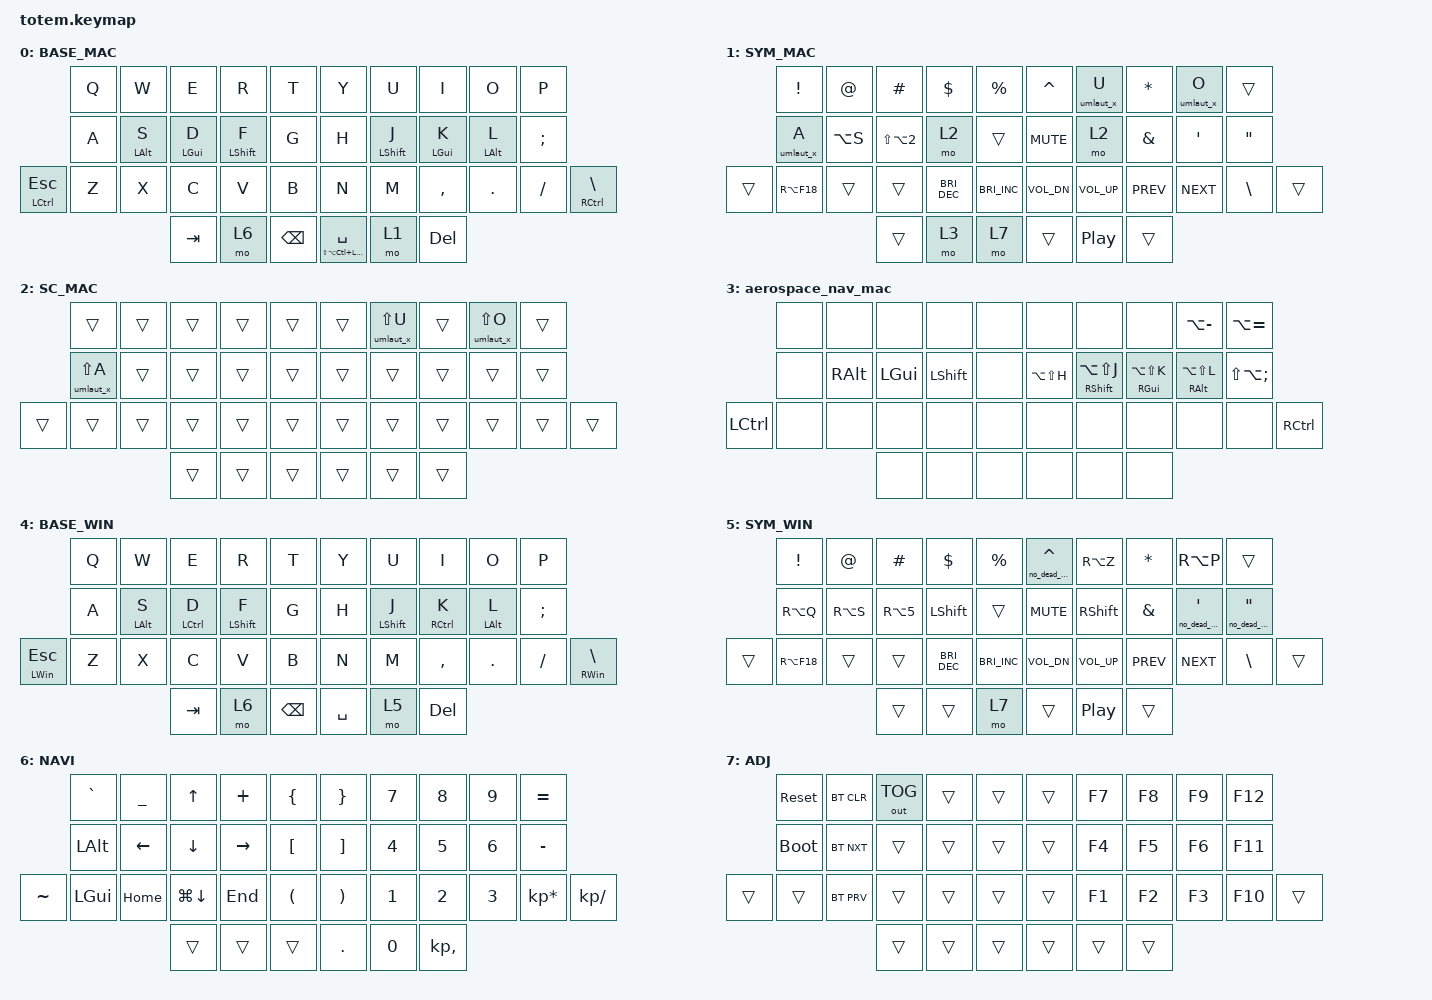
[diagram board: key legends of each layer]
//
//                                                        ▀▀▀▀▀     ▀▀▀▀▀          ▀▀█▀▀
//                                                        ▄▀▀▀▄  ▄  ▄▀▀▀▄  ▄  ▄▀▀▀▄  █  ▄▀▀▀▄
//                                                        █   █  █  █   █  █  █   █  █  █   █
//                                                         ▀▀▀   █   ▀▀▀   █   ▀▀▀   ▀   ▀▀▀
//                                                               █      ▄▄▄█▄▄▄    █   █  
//                                                               ▀      █  █  █     █▄█
//                                                             ▀▀▀▀▀    █  █  █      ▀
//                                                                      ▀  ▀  ▀
//
// ▄▄▄▄▄▄▄▄▄▄▄▄▄▄▄▄▄▄▄▄▄▄▄▄▄▄▄▄▄▄▄▄▄▄▄▄▄▄▄▄▄▄▄▄▄▄▄▄▄▄▄▄▄▄▄▄▄▄▄▄▄▄▄▄▄▄▄▄▄▄▄▄▄▄▄▄▄▄▄▄▄▄▄▄▄▄▄▄▄▄▄▄▄▄▄▄▄▄▄▄▄▄▄▄▄▄▄▄▄▄▄▄▄▄▄▄▄▄▄▄▄▄▄▄▄▄▄▄▄▄▄▄▄▄▄▄▄▄▄▄▄▄▄▄▄▄▄▄▄

#include <behaviors.dtsi>
#include <dt-bindings/zmk/bt.h>
#include <dt-bindings/zmk/keys.h>
#include <dt-bindings/zmk/outputs.h>

#define BASE 0
#define NAV  1
#define SYM  2
#define ADJ  3
#define TVP1 4
#define TVP2 5

&mt {
    quick-tap-ms = <150>;
    global-quick-tap;
    flavor = "tap-preferred";
    tapping-term-ms = <170>;
};

/ {
    combos {
        compatible = "zmk,combos";

        combo_esc {
            timeout-ms = <60>;
            key-positions = <0 1>;
            bindings = <&kp ESCAPE>;
            require-prior-idle-ms = <120>;
        };

        enter_combo {
            bindings = <&kp ENTER>;
            key-positions = <13 12 11>;
            timeout-ms = <70>;
            require-prior-idle-ms = <100>;
        };

        enter_right_combo {
            bindings = <&kp ENTER>;
            key-positions = <16 18 17>;
            timeout-ms = <70>;
            require-prior-idle-ms = <100>;
        };

        toggle_win_layer {
            bindings = <&tog 4>;
            key-positions = <0 1 2>;
            layers = <0>;
            timeout-ms = <70>;
            require-prior-idle-ms = <100>;
        };

        copy {
            bindings = <&kp LG(C)>;
            key-positions = <22 23>;
            timeout-ms = <70>;
            require-prior-idle-ms = <100>;
            layers = <0>;
        };

        paste {
            bindings = <&kp LG(V)>;
            key-positions = <23 24>;
            timeout-ms = <70>;
            require-prior-idle-ms = <100>;
            layers = <0>;
        };

        copy_win {
            bindings = <&kp LC(C)>;
            key-positions = <22 23>;
            timeout-ms = <70>;
            require-prior-idle-ms = <100>;
            layers = <4>;
        };

        paste_win {
            bindings = <&kp LC(V)>;
            key-positions = <23 24>;
            timeout-ms = <70>;
            require-prior-idle-ms = <100>;
            layers = <4>;
        };

        toggle_base_layer {
            bindings = <&tog 4>;
            key-positions = <10 11 12>;
            timeout-ms = <70>;
            require-prior-idle-ms = <100>;
            layers = <4>;
        };

        cb_hist_win {
            bindings = <&kp LG(V)>;
            key-positions = <22 23 24>;
            layers = <4>;
        };

        select_all_win {
            bindings = <&kp LC(A)>;
            key-positions = <10 22>;
            layers = <4>;
        };

        select_all_mac {
            bindings = <&kp LG(A)>;
            key-positions = <10 22>;
            layers = <0>;
        };
    };

    behaviors {
        mt_left: mt_left {
            compatible = "zmk,behavior-hold-tap";
            label = "MT_LEFT";
            bindings = <&kp>, <&kp>;

            #binding-cells = <2>;
            tapping-term-ms = <400>;
            quick-tap-ms = <400>;
            flavor = "balanced";
            require-prior-idle-ms = <400>;
        };

        mt_right: mt_right {
            compatible = "zmk,behavior-hold-tap";
            label = "MT_RIGHT";
            bindings = <&kp>, <&kp>;

            #binding-cells = <2>;
            tapping-term-ms = <400>;
            quick-tap-ms = <400>;
            flavor = "balanced";
            require-prior-idle-ms = <400>;
        };

        mt_thumb: mt_thumb {
            compatible = "zmk,behavior-hold-tap";
            label = "MT_THUMB";
            bindings = <&kp>, <&kp>;

            #binding-cells = <2>;
            quick-tap-ms = <200>;
            flavor = "balanced";
            tapping-term-ms = <200>;
            require-prior-idle-ms = <125>;
        };

        mt_shift_left: mt_shift_left {
            compatible = "zmk,behavior-hold-tap";
            label = "MT_SHIFT_LEFT";
            bindings = <&kp>, <&kp>;

            #binding-cells = <2>;
            tapping-term-ms = <200>;
            quick-tap-ms = <200>;
            flavor = "tap-preferred";
            require-prior-idle-ms = <125>;
        };

        mt_shift_right: mt_shift_right {
            compatible = "zmk,behavior-hold-tap";
            label = "MT_SHIFT_RIGHT";
            bindings = <&kp>, <&kp>;

            #binding-cells = <2>;
            tapping-term-ms = <200>;
            flavor = "tap-preferred";
            require-prior-idle-ms = <125>;
            quick-tap-ms = <200>;
        };

        hold_sticky: hold_sticky {
            compatible = "zmk,behavior-hold-tap";
            label = "HOLD_STICKY";
            bindings = <&kp>, <&sk>;

            #binding-cells = <2>;
            flavor = "hold-preferred";
            tapping-term-ms = <150>;
            quick-tap-ms = <220>;
        };

        mt_all: mt_all {
            compatible = "zmk,behavior-hold-tap";
            label = "MT_ALL";
            bindings = <&kp>, <&kp>;

            #binding-cells = <2>;
            tapping-term-ms = <400>;
            quick-tap-ms = <400>;
            flavor = "balanced";
            require-prior-idle-ms = <400>;
        };

        new_behavior: new_behavior {
            compatible = "zmk,behavior-hold-tap";
            label = "NEW_BEHAVIOR";
            bindings = <&hyper_key>, <&kp>;

            #binding-cells = <2>;
            tapping-term-ms = <400>;
            quick-tap-ms = <400>;
            flavor = "balanced";
            require-prior-idle-ms = <400>;
        };
    };

    macros {
        umlaut_x: umlaut_x {
            compatible = "zmk,behavior-macro-one-param";
            #binding-cells = <1>;
            bindings = <&kp LA(U) &macro_param_1to1 &kp MACRO_PLACEHOLDER>;
        };

        no_dead_key: no_dead_key {
            compatible = "zmk,behavior-macro-one-param";
            #binding-cells = <1>;
            bindings = <&macro_param_1to1 &kp MACRO_PLACEHOLDER &kp SPACE>;
            label = "NO_DEAD_KEY";
        };

        hyper_key: super_key {
            compatible = "zmk,behavior-macro-one-param";
            #binding-cells = <1>;
            bindings =
                <&macro_press>,
                <&kp LEFT_SHIFT &kp LEFT_CONTROL &kp LEFT_ALT &kp LEFT_GUI &macro_param_1to1 &kp MACRO_PLACEHOLDER>,
                <&macro_release>;

            label = "SUPER_KEY";
        };
    };

    keymap {
        compatible = "zmk,keymap";

        // ▄▄▄▄▄▄▄▄▄▄▄▄▄▄▄▄▄▄▄▄▄▄▄▄▄▄▄▄▄▄▄▄▄▄▄▄▄▄▄▄▄▄▄▄▄▄▄▄▄▄▄▄▄▄▄▄▄▄▄▄▄▄▄▄▄▄▄▄▄▄▄▄▄▄▄▄▄▄▄▄▄▄▄▄▄▄▄▄▄▄▄▄▄▄▄▄▄▄▄▄▄▄▄▄▄▄▄▄▄▄▄▄▄▄▄▄▄▄▄▄▄▄▄▄▄▄▄▄▄▄▄▄▄▄▄▄▄▄▄▄▄▄▄▄▄▄▄▄▄

        base_layer_mac {
            // ┏━━━━━━━━━━━━━━━━━━━━━━━━━━━━━━━━━━━━━━━┓

            label = "BASE_MAC";

            // ┗━━━━━━━━━━━━━━━━━━━━━━━━━━━━━━━━━━━━━━━┛
            //             ┏━━━━━━━━━━━┳━━━━━━━━━━━┳━━━━━━━━━━━┳━━━━━━━━━━━┳━━━━━━━━━━━┓   ┏━━━━━━━━━━━┳━━━━━━━━━━━┳━━━━━━━━━━━┳━━━━━━━━━━━┳━━━━━━━━━━━┓
            //             ┃     Q     ┃     W     ┃     F     ┃     P     ┃     G     ┃   ┃     J     ┃     L     ┃     U     ┃     Y     ┃     ;     ┃
            //             ┣━━━━━━━━━━━╋━━━━━━━━━━━╋━━━━━━━━━━━╋━━━━━━━━━━━╋━━━━━━━━━━━┫   ┣━━━━━━━━━━━╋━━━━━━━━━━━╋━━━━━━━━━━━╋━━━━━━━━━━━╋━━━━━━━━━━━┫
            //             ┃     A     ┃     R     ┃     S     ┃     T     ┃     D     ┃   ┃     H     ┃     N     ┃     E     ┃     I     ┃     O     ┃
            // ┏━━━━━━━━━━━╋━━━━━━━━━━━╋━━━━━━━━━━━╋━━━━━━━━━━━╋━━━━━━━━━━━╋━━━━━━━━━━━┫   ┣━━━━━━━━━━━╋━━━━━━━━━━━╋━━━━━━━━━━━╋━━━━━━━━━━━╋━━━━━━━━━━━╋━━━━━━━━━━━┓
            // ┃     Q     ┃     Z     ┃     X     ┃     C     ┃     V     ┃     B     ┃   ┃     K     ┃     M     ┃     ,     ┃     .     ┃     /     ┃     \     ┃
            // ┗━━━━━━━━━━━┻━━━━━━━━━━━┻━━━━━━━━━━━╋━━━━━━━━━━━╋━━━━━━━━━━━╋━━━━━━━━━━━┫   ┣━━━━━━━━━━━╋━━━━━━━━━━━╋━━━━━━━━━━━╋━━━━━━━━━━━┻━━━━━━━━━━━┻━━━━━━━━━━━┛
            //                                     ┃    DEL    ┃    TAB    ┃    SPC    ┃   ┃   ENTER   ┃           ┃   BSPC    ┃
            //                                     ┗━━━━━━━━━━━┻━━━━━━━━━━━┻━━━━━━━━━━━┛   ┗━━━━━━━━━━━┻━━━━━━━━━━━┻━━━━━━━━━━━┛

            bindings = <
                             &kp Q  &kp W                  &kp E            &kp R                    &kp T            &kp Y                                 &kp U                     &kp I             &kp O                   &kp P
                             &kp A  &mt_shift_left LALT S  &mt_left LGUI D  &mt_shift_left LSHIFT F  &kp G            &kp H                                 &mt_shift_right LSHIFT J  &mt_right LGUI K  &mt_shift_right LALT L  &kp SEMICOLON
&mt_all LEFT_CONTROL ESCAPE  &kp Z  &kp X                  &kp C            &kp V                    &kp B            &kp N                                 &kp M                     &kp COMMA         &kp DOT                 &kp FSLH       &mt_all RCTRL BACKSLASH
                                                           &kp TAB          &mo 6                    &kp BACKSPACE    &mt_thumb LS(LA(LC(LEFT_GUI))) SPACE  &mo 1                     &kp DELETE
            >;
        };

        sym_layer_mac {
            // ┏━━━━━━━━━━━━━━━━━━━━━━━━━━━━━━━━━━━━━━━┓

            label = "SYM_MAC";

            // ┗━━━━━━━━━━━━━━━━━━━━━━━━━━━━━━━━━━━━━━━┛
            //             ┏━━━━━━━━━━━┳━━━━━━━━━━━┳━━━━━━━━━━━┳━━━━━━━━━━━┳━━━━━━━━━━━┓   ┏━━━━━━━━━━━┳━━━━━━━━━━━┳━━━━━━━━━━━┳━━━━━━━━━━━┳━━━━━━━━━━━┓
            //             ┃     !     ┃     @     ┃     #     ┃     $     ┃     %     ┃   ┃     ˆ     ┃     &     ┃     Ü     ┃     '     ┃     "     ┃
            //             ┣━━━━━━━━━━━╋━━━━━━━━━━━╋━━━━━━━━━━━╋━━━━━━━━━━━╋━━━━━━━━━━━┫   ┣━━━━━━━━━━━╋━━━━━━━━━━━╋━━━━━━━━━━━╋━━━━━━━━━━━╋━━━━━━━━━━━┫
            //             ┃     Ä     ┃           ┃    SZ     ┃           ┃           ┃   ┃   MUTE    ┃   YEN     ┃   EURO    ┃  POUND    ┃     Ö     ┃
            // ┏━━━━━━━━━━━╋━━━━━━━━━━━╋━━━━━━━━━━━╋━━━━━━━━━━━╋━━━━━━━━━━━╋━━━━━━━━━━━┫   ┣━━━━━━━━━━━╋━━━━━━━━━━━╋━━━━━━━━━━━╋━━━━━━━━━━━╋━━━━━━━━━━━╋━━━━━━━━━━━┓
            // ┃           ┃  EMAIL1   ┃  EMAIL2   ┃           ┃           ┃           ┃   ┃   VOL-    ┃   VOL+    ┃   LAST    ┃   NEXT    ┃     \     ┃           ┃
            // ┗━━━━━━━━━━━┻━━━━━━━━━━━┻━━━━━━━━━━━╋━━━━━━━━━━━╋━━━━━━━━━━━╋━━━━━━━━━━━┫   ┣━━━━━━━━━━━╋━━━━━━━━━━━╋━━━━━━━━━━━╋━━━━━━━━━━━┻━━━━━━━━━━━┻━━━━━━━━━━━┛
            //                                     ┃           ┃    GIF    ┃    ADJ    ┃   ┃           ┃           ┃           ┃
            //                                     ┗━━━━━━━━━━━┻━━━━━━━━━━━┻━━━━━━━━━━━┛   ┗━━━━━━━━━━━┻━━━━━━━━━━━┻━━━━━━━━━━━┛

            bindings = <
        &kp EXCL     &kp AT     &kp HASH              &kp DLLR       &kp PRCNT               &kp CARET     &umlaut_x U   &kp ASTERISK   &umlaut_x O       &trans
        &umlaut_x A  &kp LA(S)  &kp LS(LA(NUMBER_2))  &mo 2          &trans                  &kp C_MUTE    &mo 2         &kp AMPERSAND  &kp SINGLE_QUOTE  &kp DOUBLE_QUOTES
&trans  &kp RA(F18)  &trans     &trans                &kp C_BRI_DEC  &kp C_BRIGHTNESS_INC    &kp C_VOL_DN  &kp C_VOL_UP  &kp C_PREV     &kp C_NEXT        &kp BSLH           &trans
                                &trans                &mo 3          &mo 7                   &trans        &kp C_PP      &trans
            >;
        };

        sc_layer_mac {
            bindings = <
        &trans           &trans  &trans  &trans  &trans    &trans  &umlaut_x LS(U)  &trans  &umlaut_x LS(O)  &trans
        &umlaut_x LS(A)  &trans  &trans  &trans  &trans    &trans  &trans           &trans  &trans           &trans
&trans  &trans           &trans  &trans  &trans  &trans    &trans  &trans           &trans  &trans           &trans  &trans
                                 &trans  &trans  &trans    &trans  &trans           &trans
            >;

            label = "SC_MAC";
        };

        aerospace_nav_mac {
            bindings = <
                  &none  &none          &none         &none           &none    &none          &none                                  &none                          &kp LA(MINUS)                  &kp LA(EQUAL)
                  &none  &kp RIGHT_ALT  &kp LEFT_GUI  &kp LEFT_SHIFT  &none    &kp LA(LS(H))  &mt_shift_right RIGHT_SHIFT LA(LS(J))  &mt_right RIGHT_GUI LA(LS(K))  &mt_right RIGHT_ALT LA(LS(L))  &kp LS(LA(SEMICOLON))
&kp LEFT_CONTROL  &none  &none          &none         &none           &none    &none          &none                                  &none                          &none                          &none                  &kp RIGHT_CONTROL
                                        &none         &none           &none    &none          &none                                  &none
            >;
        };

        base_layer_win {
            label = "BASE_WIN";
            bindings = <
                         &kp Q  &kp W                  &kp E                    &kp R                    &kp T            &kp Y      &kp U                     &kp I                      &kp O                   &kp P
                         &kp A  &mt_shift_left LALT S  &mt_left LEFT_CONTROL D  &mt_shift_left LSHIFT F  &kp G            &kp H      &mt_shift_right LSHIFT J  &mt_right RIGHT_CONTROL K  &mt_shift_right LALT L  &kp SEMICOLON
&mt_all LEFT_WIN ESCAPE  &kp Z  &kp X                  &kp C                    &kp V                    &kp B            &kp N      &kp M                     &kp COMMA                  &kp DOT                 &kp FSLH       &mt_all RIGHT_WIN BACKSLASH
                                                       &kp TAB                  &mo 6                    &kp BACKSPACE    &kp SPACE  &mo 5                     &kp DELETE
            >;
        };

        sym_win {
            label = "SYM_WIN";
            bindings = <
        &kp EXCL     &kp AT     &kp HASH    &kp DLLR        &kp PRCNT               &no_dead_key CARET  &kp RA(Z)     &kp ASTERISK   &kp RA(P)                  &trans
        &kp RA(Q)    &kp RA(S)  &kp RA(N5)  &kp LEFT_SHIFT  &trans                  &kp C_MUTE          &kp RSHFT     &kp AMPERSAND  &no_dead_key SINGLE_QUOTE  &no_dead_key DOUBLE_QUOTES
&trans  &kp RA(F18)  &trans     &trans      &kp C_BRI_DEC   &kp C_BRIGHTNESS_INC    &kp C_VOL_DN        &kp C_VOL_UP  &kp C_PREV     &kp C_NEXT                 &kp BSLH                    &trans
                                &trans      &trans          &mo 7                   &trans              &kp C_PP      &trans
            >;
        };

        nav_layer {
            // ┏━━━━━━━━━━━━━━━━━━━━━━━━━━━━━━━━━━━━━━━┓

            label = "NAVI";

            // ┗━━━━━━━━━━━━━━━━━━━━━━━━━━━━━━━━━━━━━━━┛
            //             ┏━━━━━━━━━━━┳━━━━━━━━━━━┳━━━━━━━━━━━┳━━━━━━━━━━━┳━━━━━━━━━━━┓   ┏━━━━━━━━━━━┳━━━━━━━━━━━┳━━━━━━━━━━━┳━━━━━━━━━━━┳━━━━━━━━━━━┓
            //             ┃           ┃           ┃     UP    ┃           ┃     {     ┃   ┃     }     ┃     7     ┃     8     ┃     9     ┃     +     ┃
            //             ┣━━━━━━━━━━━╋━━━━━━━━━━━╋━━━━━━━━━━━╋━━━━━━━━━━━╋━━━━━━━━━━━┫   ┣━━━━━━━━━━━╋━━━━━━━━━━━╋━━━━━━━━━━━╋━━━━━━━━━━━╋━━━━━━━━━━━┫
            //             ┃   SHIFT   ┃   LEFT    ┃    DOWN   ┃   RIGHT   ┃     [     ┃   ┃     ]     ┃     4     ┃     5     ┃     6     ┃     -     ┃
            // ┏━━━━━━━━━━━╋━━━━━━━━━━━╋━━━━━━━━━━━╋━━━━━━━━━━━╋━━━━━━━━━━━╋━━━━━━━━━━━┫   ┣━━━━━━━━━━━╋━━━━━━━━━━━╋━━━━━━━━━━━╋━━━━━━━━━━━╋━━━━━━━━━━━╋━━━━━━━━━━━┓
            // ┃           ┃           ┃   P UP    ┃  C LOCK   ┃  P DOWN   ┃     (     ┃   ┃     )     ┃     1     ┃     2     ┃     3     ┃     *     ┃           ┃
            // ┗━━━━━━━━━━━┻━━━━━━━━━━━┻━━━━━━━━━━━╋━━━━━━━━━━━╋━━━━━━━━━━━╋━━━━━━━━━━━┫   ┣━━━━━━━━━━━╋━━━━━━━━━━━╋━━━━━━━━━━━╋━━━━━━━━━━━┻━━━━━━━━━━━┻━━━━━━━━━━━┛
            //                                     ┃           ┃    TAB    ┃    SPC    ┃   ┃    DEL    ┃     0     ┃           ┃
            //                                     ┗━━━━━━━━━━━┻━━━━━━━━━━━┻━━━━━━━━━━━┛   ┗━━━━━━━━━━━┻━━━━━━━━━━━┻━━━━━━━━━━━┛

            bindings = <
           &kp GRAVE     &kp UNDER       &kp UP          &kp PLUS         &kp LBRC    &kp RBRC    &kp N7        &kp N8        &kp N9        &kp EQUAL
           &kp LEFT_ALT  &kp LEFT_ARROW  &kp DOWN_ARROW  &kp RIGHT_ARROW  &kp LBKT    &kp RBKT    &kp NUMBER_4  &kp N5        &kp NUMBER_6  &kp MINUS
&kp TILDE  &kp LEFT_GUI  &kp HOME        &kp LG(DOWN)    &kp END          &kp LPAR    &kp RPAR    &kp NUMBER_1  &kp N2        &kp N3        &kp KP_MULTIPLY  &kp KP_DIVIDE
                                         &trans          &trans           &trans      &kp PERIOD  &kp N0        &kp KP_COMMA
            >;
        };

        adjust_layer {
            // ┏━━━━━━━━━━━━━━━━━━━━━━━━━━━━━━━━━━━━━━━┓

            label = "ADJ";

            // ┗━━━━━━━━━━━━━━━━━━━━━━━━━━━━━━━━━━━━━━━┛
            //             ┏━━━━━━━━━━━┳━━━━━━━━━━━┳━━━━━━━━━━━┳━━━━━━━━━━━┳━━━━━━━━━━━┓   ┏━━━━━━━━━━━┳━━━━━━━━━━━┳━━━━━━━━━━━┳━━━━━━━━━━━┳━━━━━━━━━━━┓
            //             ┃   RESET   ┃ BT CLEAR  ┃  OUT TOG  ┃           ┃           ┃   ┃           ┃    F7     ┃    F8     ┃    F9     ┃    F12    ┃
            //             ┣━━━━━━━━━━━╋━━━━━━━━━━━╋━━━━━━━━━━━╋━━━━━━━━━━━╋━━━━━━━━━━━┫   ┣━━━━━━━━━━━╋━━━━━━━━━━━╋━━━━━━━━━━━╋━━━━━━━━━━━╋━━━━━━━━━━━┫
            //             ┃ BOOTLOAD  ┃ BT NEXT   ┃           ┃           ┃           ┃   ┃           ┃    F4     ┃    F5     ┃    F6     ┃    F11    ┃
            // ┏━━━━━━━━━━━╋━━━━━━━━━━━╋━━━━━━━━━━━╋━━━━━━━━━━━╋━━━━━━━━━━━╋━━━━━━━━━━━┫   ┣━━━━━━━━━━━╋━━━━━━━━━━━╋━━━━━━━━━━━╋━━━━━━━━━━━╋━━━━━━━━━━━╋━━━━━━━━━━━┓
            // ┃           ┃           ┃ BT PREV   ┃           ┃           ┃           ┃   ┃           ┃    F1     ┃    F2     ┃    F3     ┃    F10    ┃           ┃
            // ┗━━━━━━━━━━━┻━━━━━━━━━━━┻━━━━━━━━━━━╋━━━━━━━━━━━╋━━━━━━━━━━━╋━━━━━━━━━━━┫   ┣━━━━━━━━━━━╋━━━━━━━━━━━╋━━━━━━━━━━━╋━━━━━━━━━━━┻━━━━━━━━━━━┻━━━━━━━━━━━┛
            //                                     ┃           ┃           ┃           ┃   ┃           ┃           ┃           ┃
            //                                     ┗━━━━━━━━━━━┻━━━━━━━━━━━┻━━━━━━━━━━━┛   ┗━━━━━━━━━━━┻━━━━━━━━━━━┻━━━━━━━━━━━┛

            bindings = <
        &sys_reset   &bt BT_CLR  &out OUT_TOG  &trans  &trans    &trans  &kp F7  &kp F8  &kp F9  &kp F12
        &bootloader  &bt BT_NXT  &trans        &trans  &trans    &trans  &kp F4  &kp F5  &kp F6  &kp F11
&trans  &trans       &bt BT_PRV  &trans        &trans  &trans    &trans  &kp F1  &kp F2  &kp F3  &kp F10  &trans
                                 &trans        &trans  &trans    &trans  &trans  &trans
            >;
        };

        // ▄▄▄▄▄▄▄▄▄▄▄▄▄▄▄▄▄▄▄▄▄▄▄▄▄▄▄▄▄▄▄▄▄▄▄▄▄▄▄▄▄▄▄▄▄▄▄▄▄▄▄▄▄▄▄▄▄▄▄▄▄▄▄▄▄▄▄▄▄▄▄▄▄▄▄▄▄▄▄▄▄▄▄▄▄▄▄▄▄▄▄▄▄▄▄▄▄▄▄▄▄▄▄▄▄▄▄▄▄▄▄▄▄▄▄▄▄▄▄▄▄▄▄▄▄▄▄▄▄▄▄▄▄▄▄▄▄▄▄▄▄▄▄▄▄▄▄▄▄
        // ▄▄▄▄▄▄▄▄▄▄▄▄▄▄▄▄▄▄▄▄▄▄▄▄▄▄▄▄▄▄▄▄▄▄▄▄▄▄▄▄▄▄▄▄▄▄▄▄▄▄▄▄▄▄▄▄▄▄▄▄▄▄▄▄▄▄▄▄▄▄▄▄▄▄▄▄▄▄▄▄▄▄▄▄▄▄▄▄▄▄▄▄▄▄▄▄▄▄▄▄▄▄▄▄▄▄▄▄▄▄▄▄▄▄▄▄▄▄▄▄▄▄▄▄▄▄▄▄▄▄▄▄▄▄▄▄▄▄▄▄▄▄▄▄▄▄▄▄▄
    };
};
